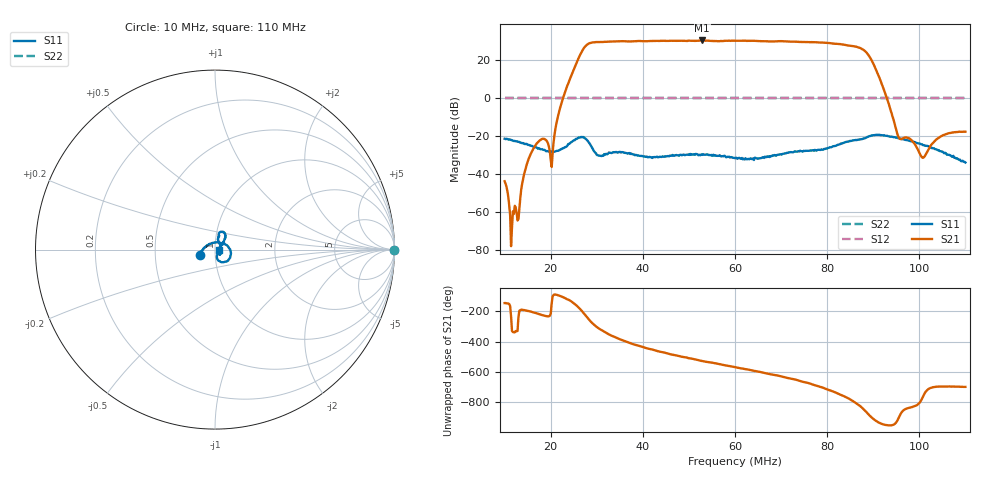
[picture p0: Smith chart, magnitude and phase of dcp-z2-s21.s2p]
! Anritsu VNA Master:  Model: MS2034B/10/19/501
! SN:  1337062
! /bd0/ovro-jan-2016/dcp-z2-s21.s2p
! Existing Calibration Information:
! TYPE:  Current Settings,  Active Cal Settings
! TIME:  01/08/2016 09:25:04 PM,  01/08/2016 08:43:08 PM
! INTERNAL TEMP:  42.3 C,  45.0 C
! # POINTS:  500,  500
! START FREQ:  10.000 MHz,  10.000 MHz
! STOP FREQ:  110.000 MHz,  110.000 MHz
! SOURCE POWER:  Low,  Low
! IFBW:  100 Hz,  100 Hz
! AVG FACTOR:  3 ,  3
! REF PLANE 1:  2.2245 m,  2.2245 m
! REF PLANE 2:  0 mm,  0 mm
! CAL TYPE:  1P2P S11,S21,  1P2P S11,S21
! CAL METHOD:  SOLT,  SOLT
! CAL LINE TYPE:  Coax,  Coax
! DUT PORT 1:  K-Conn(M),  K-Conn(M)
! DUT PORT 2:  N-Conn(M),  N-Conn(M)
! CAL STATUS:  OK: Accuracy High,  --
# GHZ S DB R 50.0
! FREQ.GHZ  S11DB  S11A  S21DB  S21A  S12DB  S12A  S22DB  S22A
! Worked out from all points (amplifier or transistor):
!   500 points, 10 MHz to 110 MHz, reference 50 ohm
!   highest |S21| = 30.3 dB at 52.89 MHz (marker M1)
!   |S21| within 3 dB of that: 27.56 MHz to 85.68 MHz (58.12 MHz wide, 103 % of centre)
!   unconditionally stable (mu >= 1): nowhere
!   at 26.63 MHz: K = 7.97, MSG = 12.0 dB, |S12| = 0.0 dB
!   at 60.1 MHz: K = 16.16, MSG = 15.1 dB, |S12| = 0.0 dB
!   at 110 MHz: K = 0.05, MSG = -8.8 dB, |S12| = 0.0 dB
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0.01  -21.34 -161.3  -43.68 -144.2  0.00 0.0  0.00 0.0
0.02342685  -25.45 35.8  5.34 -116.9  0.00 0.0  0.00 0.0
0.02563126  -21.38 -2.8  18.72 -161.0  0.00 0.0  0.00 0.0
0.02683367  -20.53 -33.9  24.90 160.9  0.00 0.0  0.00 0.0
0.02783567  -21.90 -61.5  28.01 124.0  0.00 0.0  0.00 0.0
0.02903808  -26.28 -76.2  29.30 82.9  0.00 0.0  0.00 0.0
0.03064128  -30.20 -54.7  29.51 43.7  0.00 0.0  0.00 0.0
0.03304609  -28.75 -38.4  29.78 2.2  0.00 0.0  0.00 0.0
0.03825651  -29.95 -42.3  29.95 -59.9  0.00 0.0  0.00 0.0
0.04346693  -31.00 -23.9  30.10 -104.8  0.00 0.0  0.00 0.0
0.04827655  -29.74 -17.5  30.20 -139.1  0.00 0.0  0.00 0.0
0.05288577  -29.82 -17.9  30.35 -168.2  0.00 0.0  0.00 0.0
0.0601002  -31.50 -13.1  30.18 150.4  0.00 0.0  0.00 0.0
0.06971944  -29.55 32.3  30.00 92.6  0.00 0.0  0.00 0.0
0.07673347  -27.43 49.1  29.45 37.1  0.00 0.0  0.00 0.0
0.08134268  -25.28 70.6  28.64 -10.3  0.00 0.0  0.00 0.0
0.0855511  -22.20 73.2  27.37 -73.3  0.00 0.0  0.00 0.0
0.08715431  -21.69 74.9  26.36 -106.8  0.00 0.0  0.00 0.0
0.08855711  -20.64 76.6  23.92 -147.7  0.00 0.0  0.00 0.0
0.09016032  -19.42 69.1  17.42 164.8  0.00 0.0  0.00 0.0
0.09336673  -20.08 54.6  -2.97 125.2  0.00 0.0  0.00 0.0
0.11  -33.82 -0.7  -17.64 20.4  0.00 0.0  0.00 0.0
